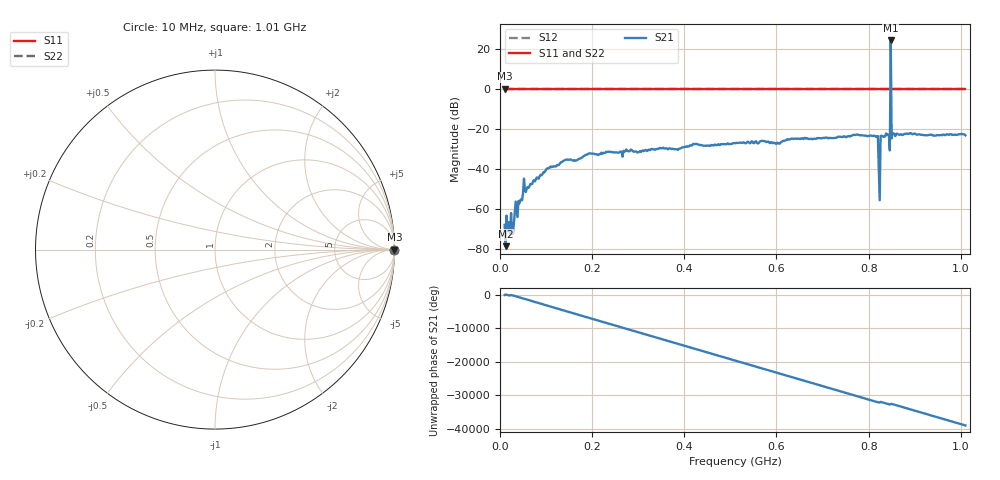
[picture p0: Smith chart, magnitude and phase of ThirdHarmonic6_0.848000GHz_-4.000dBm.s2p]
! 8/16/2025 4:04:30 AM
! C:\ANRITSUVNA\TEMP\TEMP.S2P
! CHANNEL.1
! TR.MEASUREMENT
! RAW.DATA
! RF.CORRECTION.OFF
! AVERAGING.OFF
! IF.BANDWIDTH: 5KHZ
! SWEEPTYPE:  FREQ.SWEEP(Linear)
! Reference Plane Port Info
! PORT:  PORT1  PORT2
! DISTANCE:  0  m  0  m
! TIME:  0  s  0  s
! PHASE.OFFSET:  0  deg.  0  deg.
! LOSS:  0  dB  0  dB
! REF.LOSS:  0  dB  0  dB
! REF.FREQ:  0  Hz  0  Hz
! Power Info
! POWER:  -20  dBm  -20  dBm
! EFF.POWER:  -20  dBm  -20  dBm
! SOURCE.ATTEN:  0  dB  0  dB
! TEST.ATTEN:  0  dB  0  dB
# GHZ S RI R 50.0
! FREQ.GHZ  S11RE  S11IM  S21RE  S21IM  S12RE  S12IM  S22RE  S22IM
!; PortSelection: Port_12
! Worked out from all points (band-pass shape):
!   501 points, 10 MHz to 1.01 GHz, reference 50 ohm
!   highest |S21| = 24.12 dB at 848 MHz (marker M1); lowest = -78.7 dB at 12 MHz (marker M2)
!   |S21| within 3 dB of the highest: 847.8909 MHz to 848.1224 MHz (231.6 kHz wide, 0.0273 % of centre)
!   lowest |S11| = 0.0 dB at 10 MHz (marker M3)
!   |S11| at or under -10 dB: nowhere
!   |S22| runs from 0.0 to 0.0 dB; largest |S21 - S12| = 17
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0.01  1 0  0.000109 -0.000379  1 0  1 0
0.012  1 0  3.45e-05 0.00011  1 0  1 0
0.026  1 0  -0.000211 -0.000183  1 0  1 0
0.036  1 0  -0.000892 -0.000405  1 0  1 0
0.056  1 0  -0.000654 0.00252  1 0  1 0
0.106  1 0  -0.00759 -0.00727  1 0  1 0
0.178  1 0  -0.0184 -0.00455  1 0  1 0
0.344  1 0  0.0309 -0.00587  1 0  1 0
0.51  1 0  -0.0414 0.0133  1 0  1 0
0.678  1 0  -0.0203 -0.0504  1 0  1 0
0.816  1 0  0.000178 0.0629  1 0  1 0
0.818  1 0  0.0629 0.0125  1 0  1 0
0.82  1 0  0.0246 -0.0609  1 0  1 0
0.826  1 0  0.0392 0.0524  1 0  1 0
0.828  1 0  0.0574 -0.0336  1 0  1 0
0.83  1 0  -0.0247 -0.0606  1 0  1 0
0.842  1 0  -0.0455 0.0545  1 0  1 0
0.844  1 0  0.0456 0.0538  1 0  1 0
0.848  1 0  -9.353 13.07  1 0  1 0
0.852  1 0  0.00852 0.0767  1 0  1 0
0.854  1 0  0.0759 0.00233  1 0  1 0
1.01  1 0  -0.0638 -0.0236  1 0  1 0
